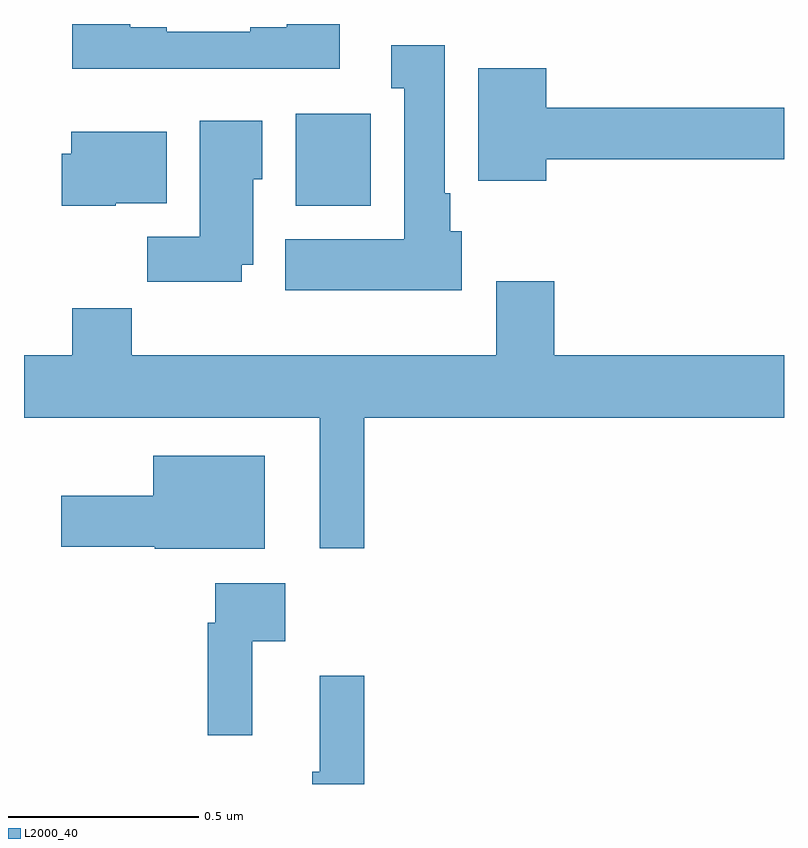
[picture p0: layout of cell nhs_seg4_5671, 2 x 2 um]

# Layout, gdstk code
import gdstk
lib = gdstk.Library(unit=1e-6, precision=1e-09)
def R(c, l, rs):  # rectangles x0, y0, x1, y1
    for r in rs: c.add(gdstk.rectangle(r[:2], r[2:], *l))
def P(c, l, *ps):  # polygons
    for p in ps: c.add(gdstk.Polygon(p, *l))
L2000_40 = (2000, 40)

nhs_seg4_5671 = lib.new_cell('nhs_seg4_5671')
R(nhs_seg4_5671, L2000_40, [(181.715,753.422,181.912,753.664)])
P(nhs_seg4_5671, L2000_40, [(181.831,753.9),(181.691,753.9),(181.691,753.892),(181.595,753.892),(181.595,753.879),(181.375,753.879),(181.375,753.892),(181.279,753.892),(181.279,753.9),(181.127,753.9),(181.127,753.782),(181.831,753.782)],
  [(182.152,753.354),(182.122,753.354),(182.122,753.454),(182.107,753.454),(182.107,753.844),(181.967,753.844),(181.967,753.731),(182,753.731),(182,753.334),(181.688,753.334),(181.688,753.2),(182.152,753.2)],
  [(182.374,753.544),(183,753.544),(183,753.68),(182.374,753.68),(182.374,753.784),(182.195,753.784),(182.195,753.488),(182.374,753.488)],
  [(181.573,753.266),(181.603,753.266),(181.603,753.492),(181.627,753.492),(181.627,753.646),(181.463,753.646),(181.463,753.34),(181.324,753.34),(181.324,753.222),(181.573,753.222)],
  [(181.242,753.428),(181.375,753.428),(181.375,753.616),(181.124,753.616),(181.124,753.558),(181.099,753.558),(181.099,753.422),(181.242,753.422)],
  [(181.895,752.864),(183,752.864),(183,753.028),(182.396,753.028),(182.396,753.223),(182.243,753.223),(182.243,753.028),(181.283,753.028),(181.283,753.152),(181.127,753.152),(181.127,753.028),(181,753.028),(181,752.864),(181.778,752.864),(181.778,752.52),(181.895,752.52)],
  [(181.633,752.764),(181.34,752.764),(181.34,752.659),(181.098,752.659),(181.098,752.525),(181.344,752.525),(181.344,752.519),(181.633,752.519)],
  [(181.601,752.276),(181.687,752.276),(181.687,752.428),(181.503,752.428),(181.503,752.324),(181.483,752.324),(181.483,752.028),(181.601,752.028)],
  [(181.895,752.185),(181.778,752.185),(181.778,751.932),(181.759,751.932),(181.759,751.9),(181.895,751.9)])

lib.write_gds('nhs_seg4_5671.gds')
